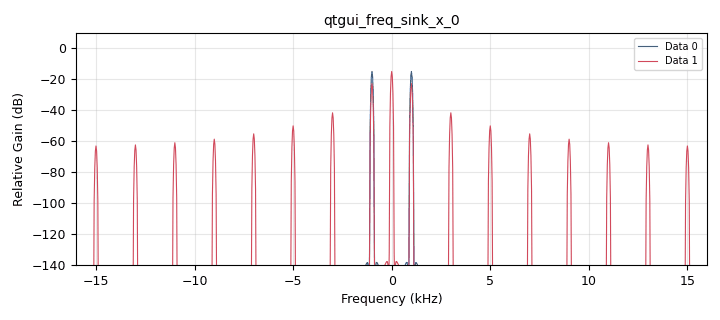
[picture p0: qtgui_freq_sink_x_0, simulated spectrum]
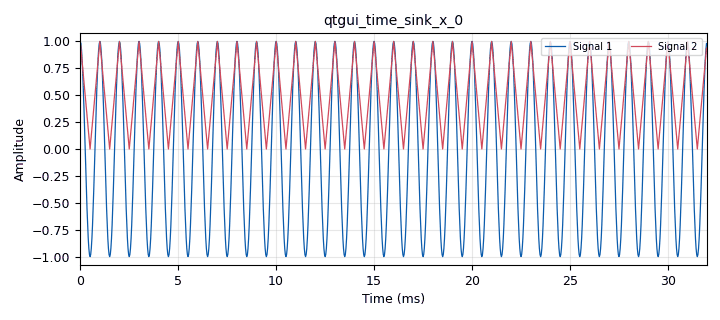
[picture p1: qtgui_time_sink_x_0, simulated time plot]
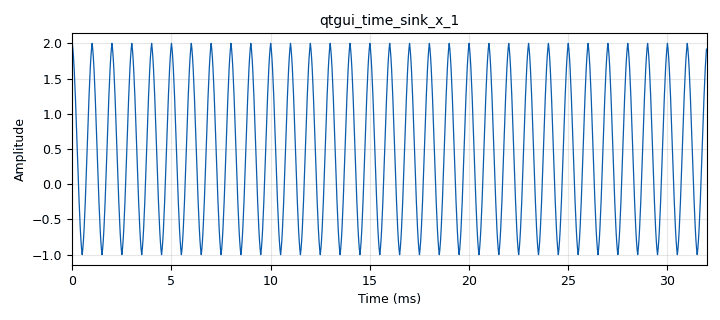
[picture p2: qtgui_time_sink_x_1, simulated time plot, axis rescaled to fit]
options:
  parameters:
    generate_options: qt_gui
    id: test
    output_language: python
    title: Not titled yet
  states: {}

blocks:
- name: range_selection
  id: variable_qtgui_range
  parameters:
    start: '1000'
    step: '1'
    stop: '10000'
    value: '1000'
  states: {}
- name: samp_rate
  id: variable
  parameters:
    value: '32000'
  states: {}
- name: analog_sig_source_x_0
  id: analog_sig_source_x
  parameters:
    amp: '1'
    freq: '1000'
    offset: '0'
    phase: '0'
    samp_rate: samp_rate
    type: float
    waveform: analog.GR_COS_WAVE
  states: {}
- name: analog_sig_source_x_0_0
  id: analog_sig_source_x
  parameters:
    amp: '1'
    freq: range_selection
    offset: '0'
    phase: '0'
    samp_rate: samp_rate
    type: float
    waveform: analog.GR_TRI_WAVE
  states: {}
- name: blocks_add_xx_0
  id: blocks_add_xx
  parameters:
    type: float
  states: {}
- name: blocks_throttle_0
  id: blocks_throttle
  parameters:
    samples_per_second: samp_rate
    type: float
  states: {}
- name: blocks_throttle_0_0
  id: blocks_throttle
  parameters:
    samples_per_second: samp_rate
    type: float
  states: {}
- name: qtgui_freq_sink_x_0
  id: qtgui_freq_sink_x
  parameters:
    bw: samp_rate
    fc: '0'
    fftsize: '1024'
    nconnections: '2'
    type: float
  states: {}
- name: qtgui_time_sink_x_0
  id: qtgui_time_sink_x
  parameters:
    nconnections: '2'
    size: '1024'
    srate: samp_rate
    type: float
  states: {}
- name: qtgui_time_sink_x_1
  id: qtgui_time_sink_x
  parameters:
    size: '1024'
    srate: samp_rate
    type: float
  states: {}

connections:
- [analog_sig_source_x_0, '0', blocks_throttle_0, '0']
- [analog_sig_source_x_0_0, '0', blocks_throttle_0_0, '0']
- [blocks_add_xx_0, '0', qtgui_time_sink_x_1, '0']
- [blocks_throttle_0, '0', blocks_add_xx_0, '0']
- [blocks_throttle_0, '0', qtgui_freq_sink_x_0, '0']
- [blocks_throttle_0, '0', qtgui_time_sink_x_0, '0']
- [blocks_throttle_0_0, '0', blocks_add_xx_0, '1']
- [blocks_throttle_0_0, '0', qtgui_freq_sink_x_0, '1']
- [blocks_throttle_0_0, '0', qtgui_time_sink_x_0, '1']

metadata:
  file_format: 1
  grc_version: 3.10.5.1
